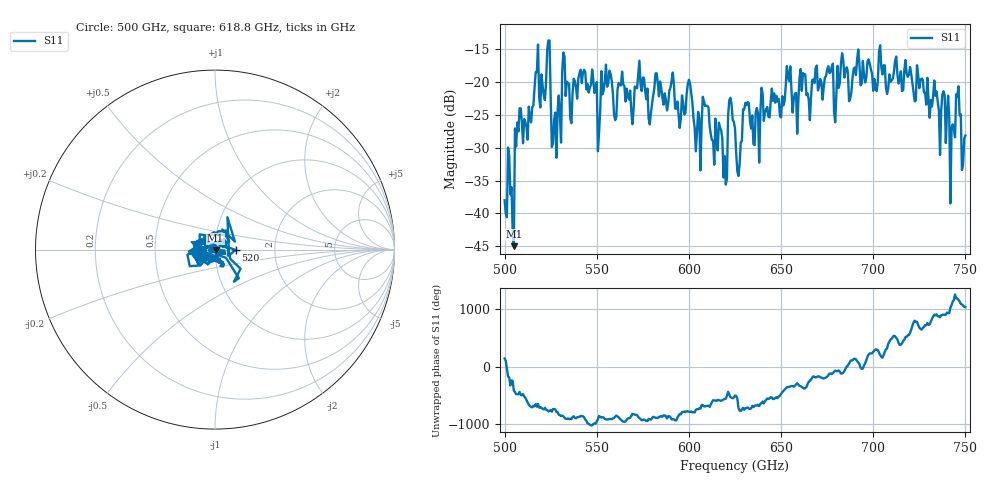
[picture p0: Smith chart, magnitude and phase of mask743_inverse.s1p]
!Created with skrf (http://scikit-rf.org).
# GHz S MA R 50.0
!freq magS11 angS11
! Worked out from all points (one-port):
!   401 points, 500 GHz to 750 GHz, reference 50 ohm
!   lowest |S11| = -45.0 dB at 505 GHz (marker M1), VSWR 1.01, Z = 50.3 - j0.48 ohm
!   |S11| at or under -10 dB: start of sweep to end of sweep
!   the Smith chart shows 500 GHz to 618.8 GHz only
!   S11 on the Smith chart (normalised r, x): 500 GHz: 0.98, +0.02; 520 GHz: 1.26, -0.00; 618.8 GHz: 0.97, +0.02
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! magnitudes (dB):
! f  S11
! 500 GHz  -38.0
! 505 GHz  -45.0
! 508.1 GHz  -24.0
! 520 GHz  -18.8
! 523.8 GHz  -13.6
! 526.9 GHz  -25.7
! 531.2 GHz  -18.4
! 542.5 GHz  -18.6
! 550.6 GHz  -30.5
! 562.5 GHz  -20.5
! 579.4 GHz  -24.7
! 590.6 GHz  -19.8
! 593.8 GHz  -23.0
! 600 GHz  -19.6
! 605 GHz  -24.5
! 608.8 GHz  -23.6
! 618.8 GHz  -34.5
! 622.5 GHz  -22.4
! 625 GHz  -27.0
! 626.9 GHz  -34.3
! 630.6 GHz  -23.1
! 656.2 GHz  -24.6
! 687.5 GHz  -22.5
! 718.8 GHz  -19.2
! 739.4 GHz  -29.3
! 743.1 GHz  -26.4
! 746.2 GHz  -20.6
! 750 GHz  -28.1
